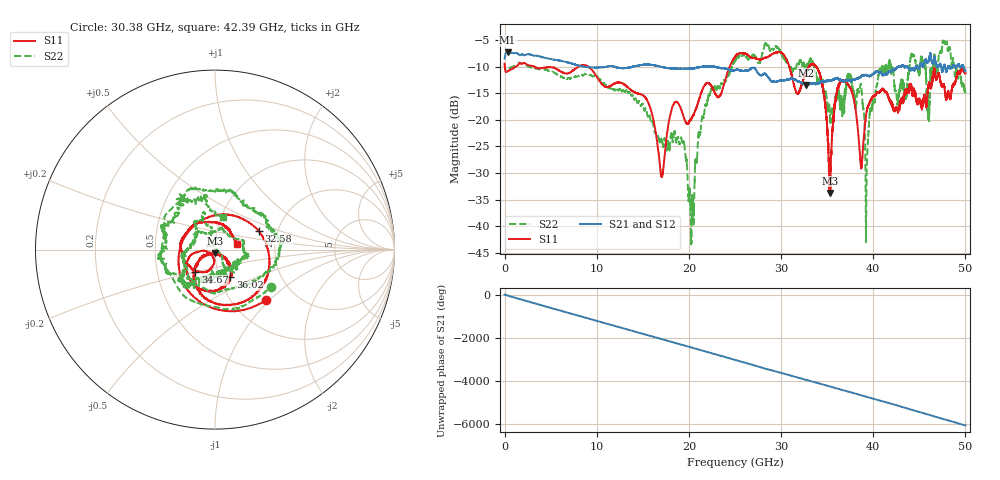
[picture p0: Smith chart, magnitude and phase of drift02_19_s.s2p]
!Created with skrf (http://scikit-rf.org).
# Hz S RI R 50.0
!freq ReS11 ImS11 ReS21 ImS21 ReS12 ImS12 ReS22 ImS22
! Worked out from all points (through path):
!   10001 points, 300 kHz to 50 GHz, reference 50 ohm
!   highest |S21| = -7.32 dB at 325.3 MHz (marker M1); lowest = -13.5 dB at 32.74 GHz (marker M2)
!   group delay of S21, straight-line fit = 335 ps
!   lowest |S11| = -33.7 dB at 35.29 GHz (marker M3), VSWR 1.04, Z = 50 - j2.05 ohm
!   |S11| at or under -10 dB: 3.237 GHz to 8.007 GHz (4.77 GHz wide, 84.8 % of centre); 9.102 GHz to 24.42 GHz (15.31 GHz wide, 91.4 % of centre); 33.83 GHz to end of sweep (the widest 3 of 8)
!   |S22| runs from -43.7 to -5.1 dB; largest |S21 - S12| = 0.016
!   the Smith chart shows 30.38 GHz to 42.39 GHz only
!   S11 on the Smith chart (normalised r, x): 30.38 GHz: 1.43, -0.95; 32.58 GHz: 1.60, +0.35; 34.67 GHz: 0.78, -0.20; 36.02 GHz: 1.13, -0.36; 42.39 GHz: 1.27, +0.07
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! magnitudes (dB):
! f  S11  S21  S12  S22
! 300 kHz  -9.4  -8.5  -8.4  -9.4
! 325.3 MHz  -10.9  -7.3  -7.3  -10.6
! 8.335 GHz  -9.7  -9.9  -9.9  -11.6
! 16.67 GHz  -25.8  -9.9  -9.9  -23.2
! 19.32 GHz  -18.8  -10.4  -10.4  -24.3
! 20.35 GHz  -19.5  -10.3  -10.3  -35.4
! 21.94 GHz  -13.1  -10.0  -9.9  -17.0
! 25 GHz  -8.2  -10.7  -10.6  -9.0
! 30.38 GHz  -8.0  -12.5  -12.6  -8.5
! 32.58 GHz  -11.5  -13.3  -13.4  -10.1
! 32.74 GHz  -10.9  -13.5  -13.5  -10.1
! 33.34 GHz  -9.5  -13.2  -13.2  -9.0
! 34.67 GHz  -15.7  -12.7  -12.6  -14.7
! 35.29 GHz  -33.7  -12.6  -12.6  -18.8
! 36.02 GHz  -15.1  -12.3  -12.2  -16.1
! 37.57 GHz  -14.2  -12.7  -12.7  -12.2
! 38.56 GHz  -26.5  -12.0  -11.9  -13.9
! 39.3 GHz  -18.4  -11.6  -11.7  -29.0
! 41.67 GHz  -15.9  -11.0  -11.1  -9.6
! 42.39 GHz  -18.1  -10.5  -10.5  -14.7
! 47.76 GHz  -14.4  -9.8  -9.7  -5.4
! 50 GHz  -11.2  -10.8  -10.8  -14.6
